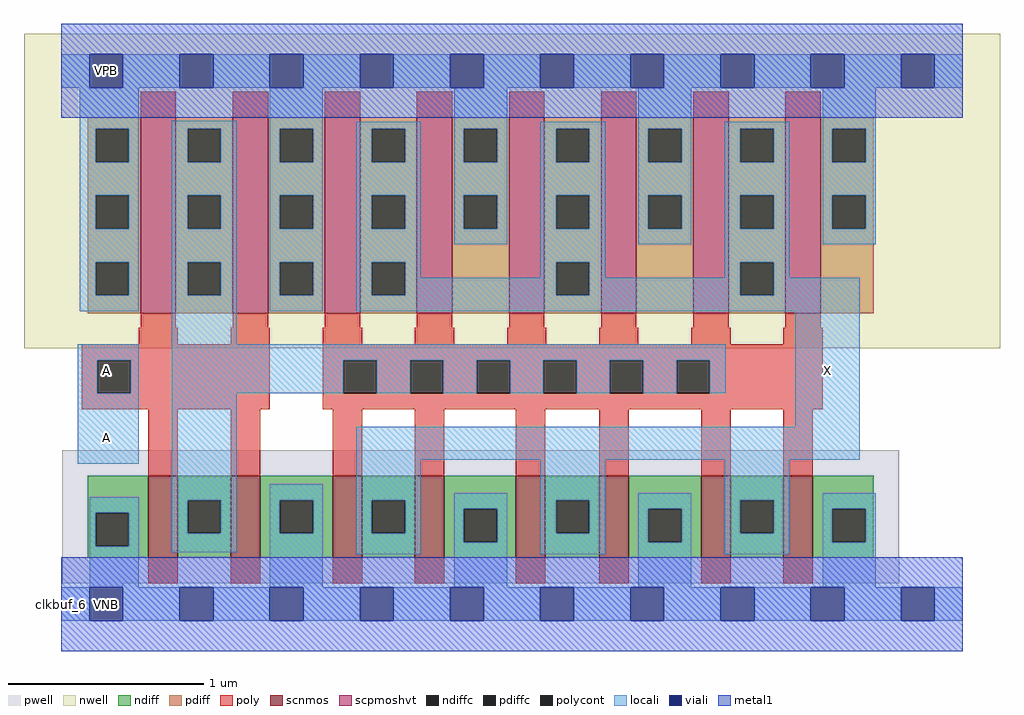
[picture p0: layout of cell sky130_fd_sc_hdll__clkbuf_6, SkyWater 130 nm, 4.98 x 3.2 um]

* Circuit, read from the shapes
.subckt sky130_fd_sc_hdll__clkbuf_6 A VGND VNB VPB VPWR X
XM1 n1 A VGND VNB sky130_fd_pr__nfet_01v8 w=0.42 l=0.15 m=2
XM2 X n1 VGND VNB sky130_fd_pr__nfet_01v8 w=0.42 l=0.15 m=6
XM3 n1 A VPWR VPB sky130_fd_pr__pfet_01v8_hvt w=1 l=0.18 m=2
XM4 X n1 VPWR VPB sky130_fd_pr__pfet_01v8_hvt w=1 l=0.18 m=6
.ends

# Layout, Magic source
magic
tech sky130A
magscale 1 2
<< nwell >>
rect -38 261 958 582
<< pwell >>
rect 1 21 855 157
rect 29 -17 63 21
<< scnmos >>
rect 89 47 119 131
rect 173 47 203 131
rect 277 47 307 131
rect 361 47 391 131
rect 464 47 494 131
rect 549 47 579 131
rect 653 47 683 131
rect 737 47 767 131
<< scpmoshvt >>
rect 81 297 117 497
rect 175 297 211 497
rect 269 297 305 497
rect 363 297 399 497
rect 457 297 493 497
rect 551 297 587 497
rect 645 297 681 497
rect 739 297 775 497
<< ndiff >>
rect 27 93 89 131
rect 27 59 35 93
rect 69 59 89 93
rect 27 47 89 59
rect 119 106 173 131
rect 119 72 129 106
rect 163 72 173 106
rect 119 47 173 72
rect 203 106 277 131
rect 203 72 223 106
rect 257 72 277 106
rect 203 47 277 72
rect 307 106 361 131
rect 307 72 317 106
rect 351 72 361 106
rect 307 47 361 72
rect 391 97 464 131
rect 391 63 411 97
rect 445 63 464 97
rect 391 47 464 63
rect 494 106 549 131
rect 494 72 505 106
rect 539 72 549 106
rect 494 47 549 72
rect 579 97 653 131
rect 579 63 599 97
rect 633 63 653 97
rect 579 47 653 63
rect 683 106 737 131
rect 683 72 693 106
rect 727 72 737 106
rect 683 47 737 72
rect 767 97 829 131
rect 767 63 787 97
rect 821 63 829 97
rect 767 47 829 63
<< pdiff >>
rect 27 485 81 497
rect 27 451 35 485
rect 69 451 81 485
rect 27 417 81 451
rect 27 383 35 417
rect 69 383 81 417
rect 27 349 81 383
rect 27 315 35 349
rect 69 315 81 349
rect 27 297 81 315
rect 117 485 175 497
rect 117 451 129 485
rect 163 451 175 485
rect 117 417 175 451
rect 117 383 129 417
rect 163 383 175 417
rect 117 349 175 383
rect 117 315 129 349
rect 163 315 175 349
rect 117 297 175 315
rect 211 485 269 497
rect 211 451 223 485
rect 257 451 269 485
rect 211 417 269 451
rect 211 383 223 417
rect 257 383 269 417
rect 211 349 269 383
rect 211 315 223 349
rect 257 315 269 349
rect 211 297 269 315
rect 305 485 363 497
rect 305 451 317 485
rect 351 451 363 485
rect 305 417 363 451
rect 305 383 317 417
rect 351 383 363 417
rect 305 349 363 383
rect 305 315 317 349
rect 351 315 363 349
rect 305 297 363 315
rect 399 485 457 497
rect 399 451 411 485
rect 445 451 457 485
rect 399 417 457 451
rect 399 383 411 417
rect 445 383 457 417
rect 399 297 457 383
rect 493 485 551 497
rect 493 451 505 485
rect 539 451 551 485
rect 493 417 551 451
rect 493 383 505 417
rect 539 383 551 417
rect 493 349 551 383
rect 493 315 505 349
rect 539 315 551 349
rect 493 297 551 315
rect 587 485 645 497
rect 587 451 599 485
rect 633 451 645 485
rect 587 417 645 451
rect 587 383 599 417
rect 633 383 645 417
rect 587 297 645 383
rect 681 485 739 497
rect 681 451 693 485
rect 727 451 739 485
rect 681 417 739 451
rect 681 383 693 417
rect 727 383 739 417
rect 681 349 739 383
rect 681 315 693 349
rect 727 315 739 349
rect 681 297 739 315
rect 775 485 829 497
rect 775 451 787 485
rect 821 451 829 485
rect 775 417 829 451
rect 775 383 787 417
rect 821 383 829 417
rect 775 297 829 383
<< ndiffc >>
rect 35 59 69 93
rect 129 72 163 106
rect 223 72 257 106
rect 317 72 351 106
rect 411 63 445 97
rect 505 72 539 106
rect 599 63 633 97
rect 693 72 727 106
rect 787 63 821 97
<< pdiffc >>
rect 35 451 69 485
rect 35 383 69 417
rect 35 315 69 349
rect 129 451 163 485
rect 129 383 163 417
rect 129 315 163 349
rect 223 451 257 485
rect 223 383 257 417
rect 223 315 257 349
rect 317 451 351 485
rect 317 383 351 417
rect 317 315 351 349
rect 411 451 445 485
rect 411 383 445 417
rect 505 451 539 485
rect 505 383 539 417
rect 505 315 539 349
rect 599 451 633 485
rect 599 383 633 417
rect 693 451 727 485
rect 693 383 727 417
rect 693 315 727 349
rect 787 451 821 485
rect 787 383 821 417
<< poly >>
rect 81 497 117 523
rect 175 497 211 523
rect 269 497 305 523
rect 363 497 399 523
rect 457 497 493 523
rect 551 497 587 523
rect 645 497 681 523
rect 739 497 775 523
rect 81 282 117 297
rect 175 282 211 297
rect 269 282 305 297
rect 363 282 399 297
rect 457 282 493 297
rect 551 282 587 297
rect 645 282 681 297
rect 739 282 775 297
rect 79 265 119 282
rect 173 265 213 282
rect 21 249 213 265
rect 21 215 37 249
rect 71 215 213 249
rect 21 199 213 215
rect 267 265 307 282
rect 361 265 401 282
rect 455 265 495 282
rect 549 265 589 282
rect 643 265 683 282
rect 737 265 777 282
rect 267 249 777 265
rect 267 215 288 249
rect 322 215 356 249
rect 390 215 424 249
rect 458 215 492 249
rect 526 215 560 249
rect 594 215 628 249
rect 662 215 777 249
rect 267 199 777 215
rect 89 131 119 199
rect 173 131 203 199
rect 277 131 307 199
rect 361 131 391 199
rect 464 131 494 199
rect 549 131 579 199
rect 653 131 683 199
rect 737 131 767 199
rect 89 21 119 47
rect 173 21 203 47
rect 277 21 307 47
rect 361 21 391 47
rect 464 21 494 47
rect 549 21 579 47
rect 653 21 683 47
rect 737 21 767 47
<< polycont >>
rect 37 215 71 249
rect 288 215 322 249
rect 356 215 390 249
rect 424 215 458 249
rect 492 215 526 249
rect 560 215 594 249
rect 628 215 662 249
<< locali >>
rect 0 527 29 561
rect 63 527 121 561
rect 155 527 213 561
rect 247 527 305 561
rect 339 527 397 561
rect 431 527 489 561
rect 523 527 581 561
rect 615 527 673 561
rect 707 527 765 561
rect 799 527 857 561
rect 891 527 920 561
rect 19 485 79 527
rect 19 451 35 485
rect 69 451 79 485
rect 19 417 79 451
rect 19 383 35 417
rect 69 383 79 417
rect 19 349 79 383
rect 19 315 35 349
rect 69 315 79 349
rect 19 299 79 315
rect 113 485 179 493
rect 113 451 129 485
rect 163 451 179 485
rect 113 417 179 451
rect 113 383 129 417
rect 163 383 179 417
rect 113 349 179 383
rect 113 315 129 349
rect 163 315 179 349
rect 113 265 179 315
rect 213 485 267 527
rect 213 451 223 485
rect 257 451 267 485
rect 213 417 267 451
rect 213 383 223 417
rect 257 383 267 417
rect 213 349 267 383
rect 213 315 223 349
rect 257 315 267 349
rect 213 299 267 315
rect 301 485 367 492
rect 301 451 317 485
rect 351 451 367 485
rect 301 417 367 451
rect 301 383 317 417
rect 351 383 367 417
rect 301 349 367 383
rect 401 485 455 527
rect 401 451 411 485
rect 445 451 455 485
rect 401 417 455 451
rect 401 383 411 417
rect 445 383 455 417
rect 401 367 455 383
rect 489 485 555 492
rect 489 451 505 485
rect 539 451 555 485
rect 489 417 555 451
rect 489 383 505 417
rect 539 383 555 417
rect 301 315 317 349
rect 351 333 367 349
rect 489 349 555 383
rect 589 485 643 527
rect 589 451 599 485
rect 633 451 643 485
rect 589 417 643 451
rect 589 383 599 417
rect 633 383 643 417
rect 589 367 643 383
rect 677 485 743 492
rect 677 451 693 485
rect 727 451 743 485
rect 677 417 743 451
rect 677 383 693 417
rect 727 383 743 417
rect 489 333 505 349
rect 351 315 505 333
rect 539 333 555 349
rect 677 349 743 383
rect 777 485 831 527
rect 777 451 787 485
rect 821 451 831 485
rect 777 417 831 451
rect 777 383 787 417
rect 821 383 831 417
rect 777 367 831 383
rect 677 333 693 349
rect 539 315 693 333
rect 727 333 743 349
rect 727 315 815 333
rect 301 299 815 315
rect 17 249 79 265
rect 17 215 37 249
rect 71 215 79 249
rect 17 143 79 215
rect 113 249 678 265
rect 113 215 288 249
rect 322 215 356 249
rect 390 215 424 249
rect 458 215 492 249
rect 526 215 560 249
rect 594 215 628 249
rect 662 215 678 249
rect 29 93 79 109
rect 29 59 35 93
rect 69 59 79 93
rect 29 17 79 59
rect 113 106 179 215
rect 749 181 815 299
rect 301 147 815 181
rect 113 72 129 106
rect 163 72 179 106
rect 113 53 179 72
rect 213 106 267 122
rect 213 72 223 106
rect 257 72 267 106
rect 213 17 267 72
rect 301 106 367 147
rect 301 72 317 106
rect 351 72 367 106
rect 301 51 367 72
rect 401 97 455 113
rect 401 63 411 97
rect 445 63 455 97
rect 401 17 455 63
rect 489 106 555 147
rect 489 72 505 106
rect 539 72 555 106
rect 489 51 555 72
rect 589 97 643 113
rect 589 63 599 97
rect 633 63 643 97
rect 589 17 643 63
rect 677 106 743 147
rect 677 72 693 106
rect 727 72 743 106
rect 677 51 743 72
rect 777 97 831 113
rect 777 63 787 97
rect 821 63 831 97
rect 777 17 831 63
rect 0 -17 29 17
rect 63 -17 121 17
rect 155 -17 213 17
rect 247 -17 305 17
rect 339 -17 397 17
rect 431 -17 489 17
rect 523 -17 581 17
rect 615 -17 673 17
rect 707 -17 765 17
rect 799 -17 857 17
rect 891 -17 920 17
<< viali >>
rect 29 527 63 561
rect 121 527 155 561
rect 213 527 247 561
rect 305 527 339 561
rect 397 527 431 561
rect 489 527 523 561
rect 581 527 615 561
rect 673 527 707 561
rect 765 527 799 561
rect 857 527 891 561
rect 29 -17 63 17
rect 121 -17 155 17
rect 213 -17 247 17
rect 305 -17 339 17
rect 397 -17 431 17
rect 489 -17 523 17
rect 581 -17 615 17
rect 673 -17 707 17
rect 765 -17 799 17
rect 857 -17 891 17
<< metal1 >>
rect 0 561 920 592
rect 0 527 29 561
rect 63 527 121 561
rect 155 527 213 561
rect 247 527 305 561
rect 339 527 397 561
rect 431 527 489 561
rect 523 527 581 561
rect 615 527 673 561
rect 707 527 765 561
rect 799 527 857 561
rect 891 527 920 561
rect 0 496 920 527
rect 0 17 920 48
rect 0 -17 29 17
rect 63 -17 121 17
rect 155 -17 213 17
rect 247 -17 305 17
rect 339 -17 397 17
rect 431 -17 489 17
rect 523 -17 581 17
rect 615 -17 673 17
rect 707 -17 765 17
rect 799 -17 857 17
rect 891 -17 920 17
rect 0 -48 920 -17
<< labels >>
flabel locali s 29 153 63 187 0 FreeSans 200 0 0 0 A
port 1 nsew signal input
flabel locali s 765 221 799 255 0 FreeSans 200 0 0 0 X
port 6 nsew signal output
flabel locali s 29 221 63 255 0 FreeSans 200 0 0 0 A
port 1 nsew signal input
flabel nwell s 29 527 63 561 0 FreeSans 200 0 0 0 VPB
port 4 nsew power bidirectional
flabel pwell s 29 -17 63 17 0 FreeSans 200 0 0 0 VNB
port 3 nsew ground bidirectional
flabel metal1 s 29 -17 63 17 0 FreeSans 200 0 0 0 VGND
port 2 nsew ground bidirectional
flabel metal1 s 29 527 63 561 0 FreeSans 200 0 0 0 VPWR
port 5 nsew power bidirectional
rlabel comment s 0 0 0 0 4 clkbuf_6
<< properties >>
string LEFsite unithd
string LEFclass CORE
string FIXED_BBOX 0 0 920 544
string GDS_FILE $PDKPATH/libs.ref/sky130_fd_sc_hdll/gds/sky130_fd_sc_hdll.gds
string LEFsymmetry X Y R90
string GDS_END 909308
string GDS_START 902084
string LEFproperties maskLayoutSubType "abstract" prCellType "standard" originalViewName "layout"
<< end >>
